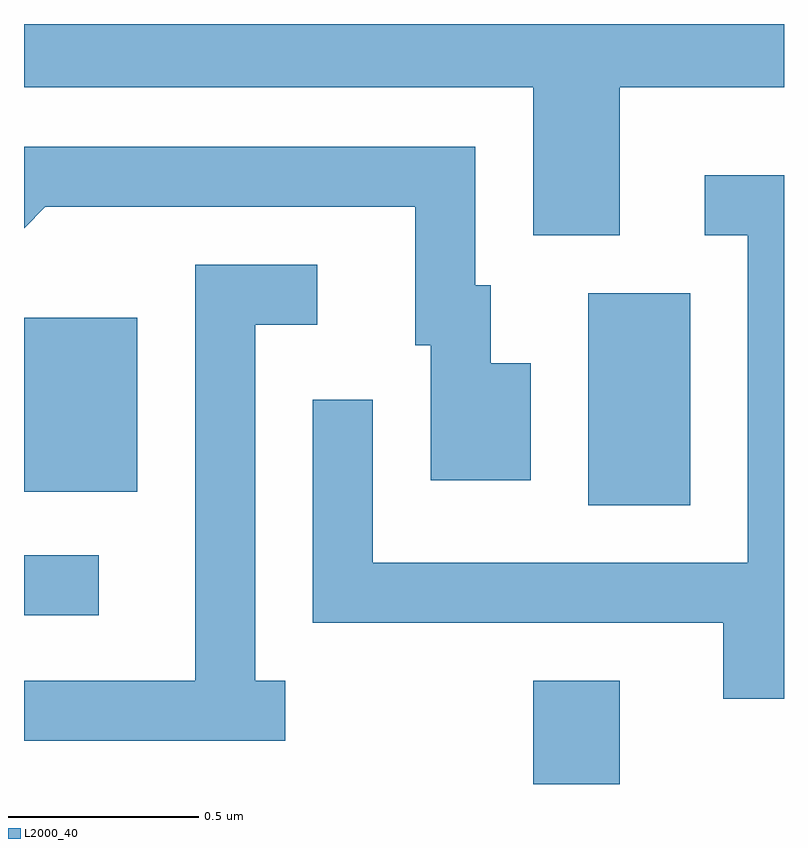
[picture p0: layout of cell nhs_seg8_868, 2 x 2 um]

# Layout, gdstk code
import gdstk
lib = gdstk.Library(unit=1e-6, precision=1e-09)
def R(c, l, rs):  # rectangles x0, y0, x1, y1
    for r in rs: c.add(gdstk.rectangle(r[:2], r[2:], *l))
def P(c, l, *ps):  # polygons
    for p in ps: c.add(gdstk.Polygon(p, *l))
L2000_40 = (2000, 40)

nhs_seg8_868 = lib.new_cell('nhs_seg8_868')
R(nhs_seg8_868, L2000_40, [(192.951,1852.342,193.179,1852.614), (191.611,1852.786,191.808,1852.944), (193.096,1853.076,193.364,1853.634), (191.611,1853.111,191.909,1853.569)])
P(nhs_seg8_868, L2000_40, [(193.179,1854.176),(193.611,1854.176),(193.611,1854.342),(191.611,1854.342),(191.611,1854.176),(192.951,1854.176),(192.951,1853.786),(193.179,1853.786)],
  [(192.944,1853.449),(192.839,1853.449),(192.839,1853.654),(192.799,1853.654),(192.799,1854.019),(191.611,1854.019),(191.611,1853.805),(191.667,1853.861),(192.641,1853.861),(192.641,1853.496),(192.681,1853.496),(192.681,1853.141),(192.944,1853.141)],
  [(193.611,1853.944),(193.403,1853.944),(193.403,1853.786),(193.516,1853.786),(193.516,1852.924),(192.529,1852.924),(192.529,1853.353),(192.371,1853.353),(192.371,1852.766),(193.451,1852.766),(193.451,1852.566),(193.611,1852.566)],
  [(192.298,1852.614),(192.219,1852.614),(192.219,1853.551),(192.383,1853.551),(192.383,1853.709),(192.061,1853.709),(192.061,1852.614),(191.611,1852.614),(191.611,1852.456),(192.298,1852.456)])

lib.write_gds('nhs_seg8_868.gds')
